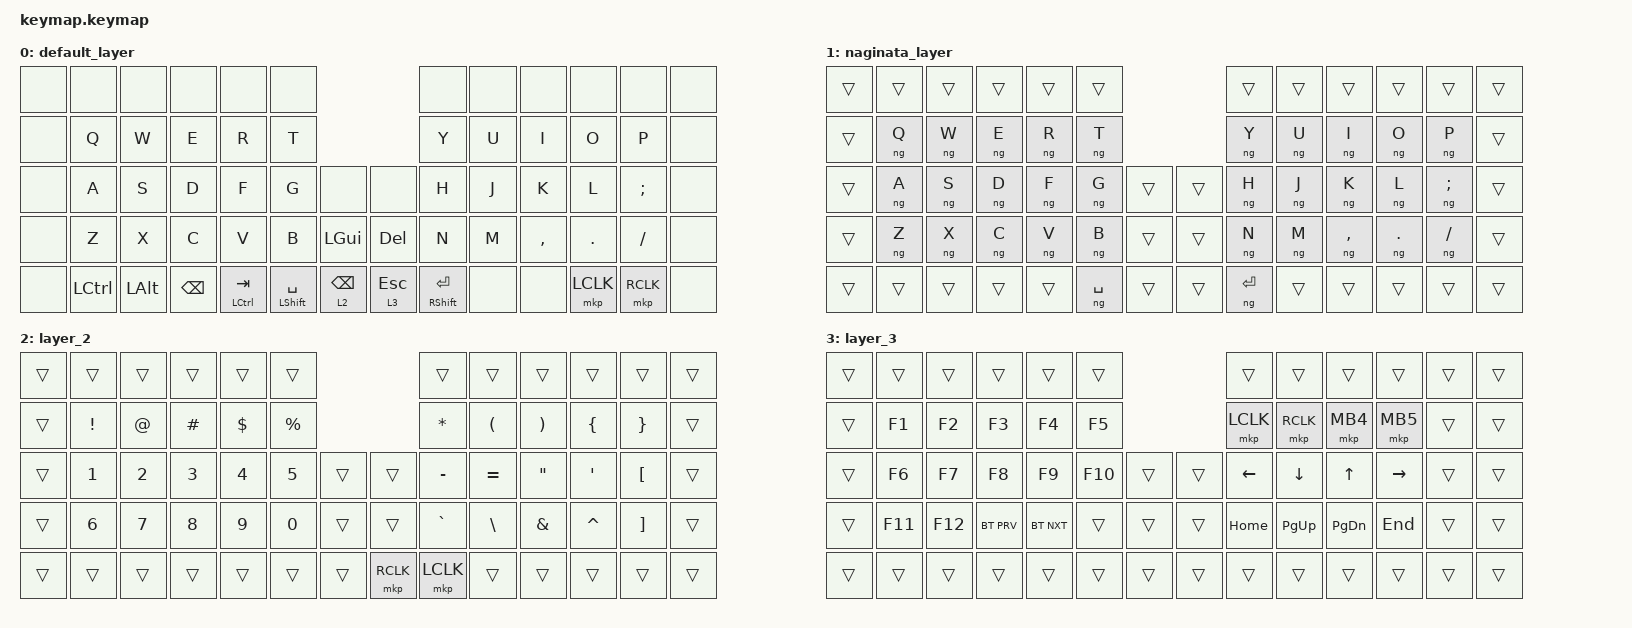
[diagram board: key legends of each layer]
#include <behaviors/naginata.dtsi>
#include <behaviors.dtsi>
#include <dt-bindings/zmk/bt.h>
#include <dt-bindings/zmk/keys.h>
#include <dt-bindings/zmk/pointing.h>

/ {
    macros {
        ng_on: ng_on {
            compatible = "zmk,behavior-macro";
            #binding-cells = <0>;
            bindings = <&macro_tap>, <&kp LANGUAGE_1 &kp INTERNATIONAL_4 &to 1>;
        };

        ng_off: ng_off {
            compatible = "zmk,behavior-macro";
            #binding-cells = <0>;
            bindings = <&macro_tap>, <&kp LANGUAGE_2 &kp INTERNATIONAL_5 &to 0>;
        };
    };

    combos {
        compatible = "zmk,combos";

        bt_clear {
            bindings = <&bt BT_CLR>;
            key-positions = <28 29>;
            layers = <2>;
        };

        combo_ng_on {
            timeout-ms = <300>;
            key-positions = <32 33>;
            bindings = <&ng_on>;
            layers = <0>;
        };

        combo_ng_off {
            timeout-ms = <300>;
            key-positions = <28 29>;
            bindings = <&ng_off>;
            layers = <0 1>;
        };
    };

    keymap {
        compatible = "zmk,keymap";

        default_layer {
            bindings = <
&none  &none      &none     &none     &none          &none                                   &none            &none  &none      &none      &none      &none
&none  &kp Q      &kp W     &kp E     &kp R          &kp T                                   &kp Y            &kp U  &kp I      &kp O      &kp P      &none
&none  &kp A      &kp S     &kp D     &kp F          &kp G            &none       &none      &kp H            &kp J  &kp K      &kp L      &kp SEMI   &none
&none  &kp Z      &kp X     &kp C     &kp V          &kp B            &kp LGUI    &kp DEL    &kp N            &kp M  &kp COMMA  &kp DOT    &kp FSLH   &none
&none  &kp LCTRL  &kp LALT  &kp BSPC  &mt LCTRL TAB  &mt LSHFT SPACE  &lt 2 BSPC  &lt 3 ESC  &mt RSHFT ENTER  &none  &none      &mkp LCLK  &mkp RCLK  &none
            >;
        };

        naginata_layer {
            bindings = <
&trans  &trans  &trans  &trans  &trans  &trans                     &trans     &trans  &trans     &trans   &trans    &trans
&trans  &ng Q   &ng W   &ng E   &ng R   &ng T                      &ng Y      &ng U   &ng I      &ng O    &ng P     &trans
&trans  &ng A   &ng S   &ng D   &ng F   &ng G      &trans  &trans  &ng H      &ng J   &ng K      &ng L    &ng SEMI  &trans
&trans  &ng Z   &ng X   &ng C   &ng V   &ng B      &trans  &trans  &ng N      &ng M   &ng COMMA  &ng DOT  &ng FSLH  &trans
&trans  &trans  &trans  &trans  &trans  &ng SPACE  &trans  &trans  &ng ENTER  &trans  &trans     &trans   &trans    &trans
            >;
        };

        layer_2 {
            bindings = <
&trans  &trans    &trans  &trans    &trans    &trans                        &trans     &trans     &trans    &trans     &trans    &trans
&trans  &kp EXCL  &kp AT  &kp HASH  &kp DLLR  &kp PRCNT                     &kp ASTRK  &kp LPAR   &kp RPAR  &kp LBRC   &kp RBRC  &trans
&trans  &kp N1    &kp N2  &kp N3    &kp N4    &kp N5     &trans  &trans     &kp MINUS  &kp EQUAL  &kp DQT   &kp SQT    &kp LBKT  &trans
&trans  &kp N6    &kp N7  &kp N8    &kp N9    &kp N0     &trans  &trans     &kp GRAVE  &kp BSLH   &kp AMPS  &kp CARET  &kp RBKT  &trans
&trans  &trans    &trans  &trans    &trans    &trans     &trans  &mkp RCLK  &mkp LCLK  &trans     &trans    &trans     &trans    &trans
            >;
        };

        layer_3 {
            bindings = <
&trans  &trans   &trans   &trans      &trans      &trans                   &trans     &trans     &trans     &trans     &trans  &trans
&trans  &kp F1   &kp F2   &kp F3      &kp F4      &kp F5                   &mkp LCLK  &mkp RCLK  &mkp MB4   &mkp MB5   &trans  &trans
&trans  &kp F6   &kp F7   &kp F8      &kp F9      &kp F10  &trans  &trans  &kp LEFT   &kp DOWN   &kp UP     &kp RIGHT  &trans  &trans
&trans  &kp F11  &kp F12  &bt BT_PRV  &bt BT_NXT  &trans   &trans  &trans  &kp HOME   &kp PG_UP  &kp PG_DN  &kp END    &trans  &trans
&trans  &trans   &trans   &trans      &trans      &trans   &trans  &trans  &trans     &trans     &trans     &trans     &trans  &trans
            >;
        };
    };
};
